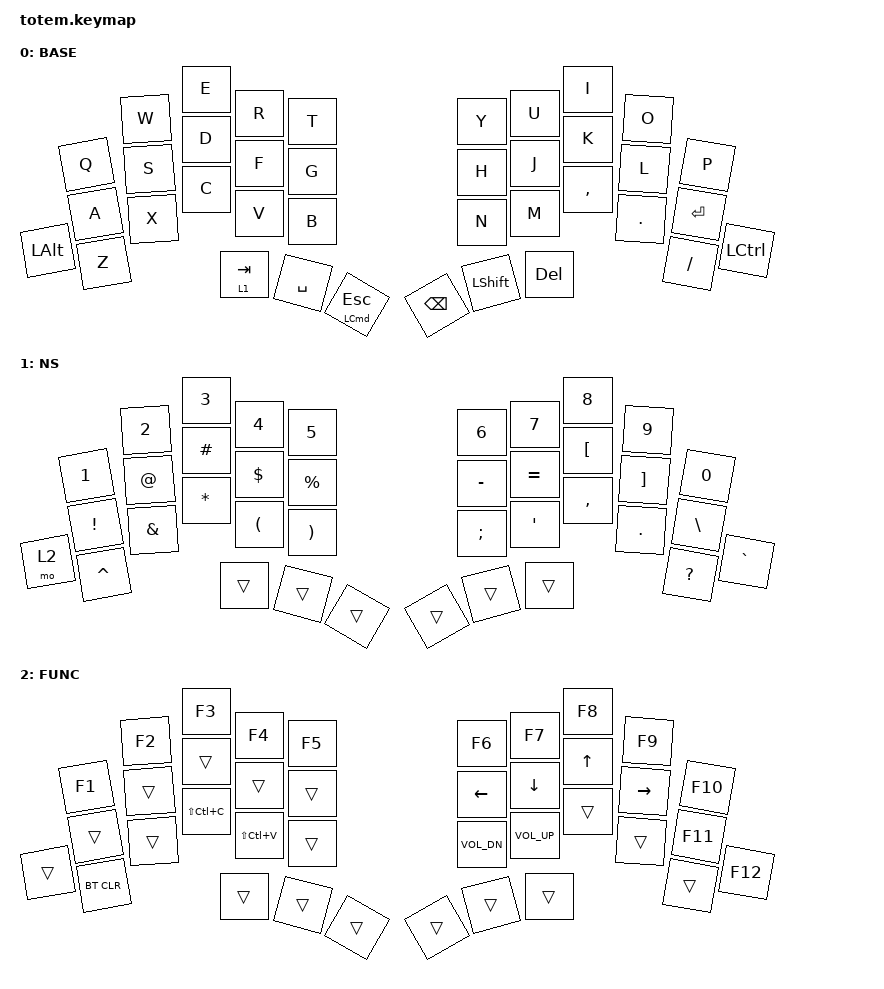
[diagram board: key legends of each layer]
//
//                                                        ▀▀▀▀▀     ▀▀▀▀▀          ▀▀█▀▀
//                                                        ▄▀▀▀▄  ▄  ▄▀▀▀▄  ▄  ▄▀▀▀▄  █  ▄▀▀▀▄
//                                                        █   █  █  █   █  █  █   █  █  █   █
//                                                         ▀▀▀   █   ▀▀▀   █   ▀▀▀   ▀   ▀▀▀
//                                                               █      ▄▄▄█▄▄▄    █   █  
//                                                               ▀      █  █  █     █▄█
//                                                             ▀▀▀▀▀    █  █  █      ▀
//                                                                      ▀  ▀  ▀
//
// ▄▄▄▄▄▄▄▄▄▄▄▄▄▄▄▄▄▄▄▄▄▄▄▄▄▄▄▄▄▄▄▄▄▄▄▄▄▄▄▄▄▄▄▄▄▄▄▄▄▄▄▄▄▄▄▄▄▄▄▄▄▄▄▄▄▄▄▄▄▄▄▄▄▄▄▄▄▄▄▄▄▄▄▄▄▄▄▄▄▄▄▄▄▄▄▄▄▄▄▄▄▄▄▄▄▄▄▄▄▄▄▄▄▄▄▄▄▄▄▄▄▄▄▄▄▄▄▄▄▄▄▄▄▄▄▄▄▄▄▄▄▄▄▄▄▄▄▄▄

#include <behaviors.dtsi>
#include <dt-bindings/zmk/bt.h>
#include <dt-bindings/zmk/keys.h>

#define BASE 0
#define NAV  1
#define SYM  2
#define ADJ  3
#define TVP1 4
#define TVP2 5

&mt {
    quick-tap-ms = <100>;
    global-quick-tap;
    flavor = "tap-preferred";
    tapping-term-ms = <170>;
};

/ {
    combos {
        compatible = "zmk,combos";

        combo_esc {
            timeout-ms = <50>;
            key-positions = <0 1>;
            bindings = <&kp ESC>;
        };

        combo_tvp {
            timeout-ms = <100>;
            key-positions = <11 12 13>;
            bindings = <&tog 0>;
        };
    };

    macros {
        gif: gif {
            display-name = "giphy";
            compatible = "zmk,behavior-macro";
            #binding-cells = <0>;
            bindings =
                <&macro_press>,
                <&kp LSHFT>,
                <&macro_tap>,
                <&kp N2>,
                <&macro_release>,
                <&kp LSHFT>,
                <&macro_tap>,
                <&kp G &kp I &kp F>;
        };
    };

    keymap {
        compatible = "zmk,keymap";

        // ▄▄▄▄▄▄▄▄▄▄▄▄▄▄▄▄▄▄▄▄▄▄▄▄▄▄▄▄▄▄▄▄▄▄▄▄▄▄▄▄▄▄▄▄▄▄▄▄▄▄▄▄▄▄▄▄▄▄▄▄▄▄▄▄▄▄▄▄▄▄▄▄▄▄▄▄▄▄▄▄▄▄▄▄▄▄▄▄▄▄▄▄▄▄▄▄▄▄▄▄▄▄▄▄▄▄▄▄▄▄▄▄▄▄▄▄▄▄▄▄▄▄▄▄▄▄▄▄▄▄▄▄▄▄▄▄▄▄▄▄▄▄▄▄▄▄▄▄▄

        base_layer {
            // ┏━━━━━━━━━━━━━━━━━━━━━━━━━━━━━━━━━━━━━━━┓

            display-name = "BASE";

            // ┗━━━━━━━━━━━━━━━━━━━━━━━━━━━━━━━━━━━━━━━┛
            //             ┏━━━━━━━━━━━┳━━━━━━━━━━━┳━━━━━━━━━━━┳━━━━━━━━━━━┳━━━━━━━━━━━┓   ┏━━━━━━━━━━━┳━━━━━━━━━━━┳━━━━━━━━━━━┳━━━━━━━━━━━┳━━━━━━━━━━━┓
            //             ┃     Q     ┃     W     ┃     E     ┃     R     ┃     T     ┃   ┃     Y     ┃     U     ┃     I     ┃     O     ┃     P     ┃
            //             ┣━━━━━━━━━━━╋━━━━━━━━━━━╋━━━━━━━━━━━╋━━━━━━━━━━━╋━━━━━━━━━━━┫   ┣━━━━━━━━━━━╋━━━━━━━━━━━╋━━━━━━━━━━━╋━━━━━━━━━━━╋━━━━━━━━━━━┫
            //             ┃     A     ┃     S     ┃     D     ┃     F     ┃     G     ┃   ┃     H     ┃     J     ┃     K     ┃     L     ┃     ;     ┃
            // ┏━━━━━━━━━━━╋━━━━━━━━━━━╋━━━━━━━━━━━╋━━━━━━━━━━━╋━━━━━━━━━━━╋━━━━━━━━━━━┫   ┣━━━━━━━━━━━╋━━━━━━━━━━━╋━━━━━━━━━━━╋━━━━━━━━━━━╋━━━━━━━━━━━╋━━━━━━━━━━━┓
            // ┃     Q     ┃     Z     ┃     X     ┃     C     ┃     V     ┃     B     ┃   ┃     N     ┃     M     ┃     ,     ┃     .     ┃     /     ┃     \     ┃
            // ┗━━━━━━━━━━━┻━━━━━━━━━━━┻━━━━━━━━━━━╋━━━━━━━━━━━╋━━━━━━━━━━━╋━━━━━━━━━━━┫   ┣━━━━━━━━━━━╋━━━━━━━━━━━╋━━━━━━━━━━━╋━━━━━━━━━━━┻━━━━━━━━━━━┻━━━━━━━━━━━┛
            //                                     ┃    DEL    ┃    TAB    ┃    SPC    ┃   ┃   ENTER   ┃           ┃   BSPC    ┃
            //                                     ┗━━━━━━━━━━━┻━━━━━━━━━━━┻━━━━━━━━━━━┛   ┗━━━━━━━━━━━┻━━━━━━━━━━━┻━━━━━━━━━━━┛

            bindings = <
              &kp Q  &kp W  &kp E      &kp R      &kp T              &kp Y          &kp U           &kp I       &kp O    &kp P
              &kp A  &kp S  &kp D      &kp F      &kp G              &kp H          &kp J           &kp K       &kp L    &kp ENTER
&kp LEFT_ALT  &kp Z  &kp X  &kp C      &kp V      &kp B              &kp N          &kp M           &kp COMMA   &kp DOT  &kp FSLH   &kp LCTRL
                            &lt 1 TAB  &kp SPACE  &mt LCMD ESCAPE    &kp BACKSPACE  &kp LEFT_SHIFT  &kp DELETE
            >;
        };

        // ▄▄▄▄▄▄▄▄▄▄▄▄▄▄▄▄▄▄▄▄▄▄▄▄▄▄▄▄▄▄▄▄▄▄▄▄▄▄▄▄▄▄▄▄▄▄▄▄▄▄▄▄▄▄▄▄▄▄▄▄▄▄▄▄▄▄▄▄▄▄▄▄▄▄▄▄▄▄▄▄▄▄▄▄▄▄▄▄▄▄▄▄▄▄▄▄▄▄▄▄▄▄▄▄▄▄▄▄▄▄▄▄▄▄▄▄▄▄▄▄▄▄▄▄▄▄▄▄▄▄▄▄▄▄▄▄▄▄▄▄▄▄▄▄▄▄▄▄▄
        // ▄▄▄▄▄▄▄▄▄▄▄▄▄▄▄▄▄▄▄▄▄▄▄▄▄▄▄▄▄▄▄▄▄▄▄▄▄▄▄▄▄▄▄▄▄▄▄▄▄▄▄▄▄▄▄▄▄▄▄▄▄▄▄▄▄▄▄▄▄▄▄▄▄▄▄▄▄▄▄▄▄▄▄▄▄▄▄▄▄▄▄▄▄▄▄▄▄▄▄▄▄▄▄▄▄▄▄▄▄▄▄▄▄▄▄▄▄▄▄▄▄▄▄▄▄▄▄▄▄▄▄▄▄▄▄▄▄▄▄▄▄▄▄▄▄▄▄▄▄
        // ▄▄▄▄▄▄▄▄▄▄▄▄▄▄▄▄▄▄▄▄▄▄▄▄▄▄▄▄▄▄▄▄▄▄▄▄▄▄▄▄▄▄▄▄▄▄▄▄▄▄▄▄▄▄▄▄▄▄▄▄▄▄▄▄▄▄▄▄▄▄▄▄▄▄▄▄▄▄▄▄▄▄▄▄▄▄▄▄▄▄▄▄▄▄▄▄▄▄▄▄▄▄▄▄▄▄▄▄▄▄▄▄▄▄▄▄▄▄▄▄▄▄▄▄▄▄▄▄▄▄▄▄▄▄▄▄▄▄▄▄▄▄▄▄▄▄▄▄▄
        // ▄▄▄▄▄▄▄▄▄▄▄▄▄▄▄▄▄▄▄▄▄▄▄▄▄▄▄▄▄▄▄▄▄▄▄▄▄▄▄▄▄▄▄▄▄▄▄▄▄▄▄▄▄▄▄▄▄▄▄▄▄▄▄▄▄▄▄▄▄▄▄▄▄▄▄▄▄▄▄▄▄▄▄▄▄▄▄▄▄▄▄▄▄▄▄▄▄▄▄▄▄▄▄▄▄▄▄▄▄▄▄▄▄▄▄▄▄▄▄▄▄▄▄▄▄▄▄▄▄▄▄▄▄▄▄▄▄▄▄▄▄▄▄▄▄▄▄▄▄
        // ▄▄▄▄▄▄▄▄▄▄▄▄▄▄▄▄▄▄▄▄▄▄▄▄▄▄▄▄▄▄▄▄▄▄▄▄▄▄▄▄▄▄▄▄▄▄▄▄▄▄▄▄▄▄▄▄▄▄▄▄▄▄▄▄▄▄▄▄▄▄▄▄▄▄▄▄▄▄▄▄▄▄▄▄▄▄▄▄▄▄▄▄▄▄▄▄▄▄▄▄▄▄▄▄▄▄▄▄▄▄▄▄▄▄▄▄▄▄▄▄▄▄▄▄▄▄▄▄▄▄▄▄▄▄▄▄▄▄▄▄▄▄▄▄▄▄▄▄▄

        num_sym_layer {
            bindings = <
       &kp N1           &kp N2         &kp N3        &kp N4                &kp N5                   &kp N6     &kp N7     &kp N8     &kp N9      &kp N0
       &kp EXCLAMATION  &kp AT_SIGN    &kp HASH      &kp DOLLAR            &kp PERCENT              &kp MINUS  &kp EQUAL  &kp LBKT   &kp RBKT    &kp BSLH
&mo 2  &kp CARET        &kp AMPERSAND  &kp ASTERISK  &kp LEFT_PARENTHESIS  &kp RIGHT_PARENTHESIS    &kp SEMI   &kp SQT    &kp COMMA  &kp PERIOD  &kp QUESTION  &kp GRAVE
                                       &trans        &trans                &trans                   &trans     &trans     &trans
            >;

            label = "NS";
        };

        func_layer {
            bindings = <
        &kp F1      &kp F2  &kp F3         &kp F4         &kp F5    &kp F6        &kp F7           &kp F8        &kp F9     &kp F10
        &trans      &trans  &trans         &trans         &trans    &kp LEFT      &kp DOWN         &kp UP_ARROW  &kp RIGHT  &kp F11
&trans  &bt BT_CLR  &trans  &kp LS(LC(C))  &kp LS(LC(V))  &trans    &kp C_VOL_DN  &kp C_VOLUME_UP  &trans        &trans     &trans   &kp F12
                            &trans         &trans         &trans    &trans        &trans           &trans
            >;

            label = "FUNC";
        };
    };
};
